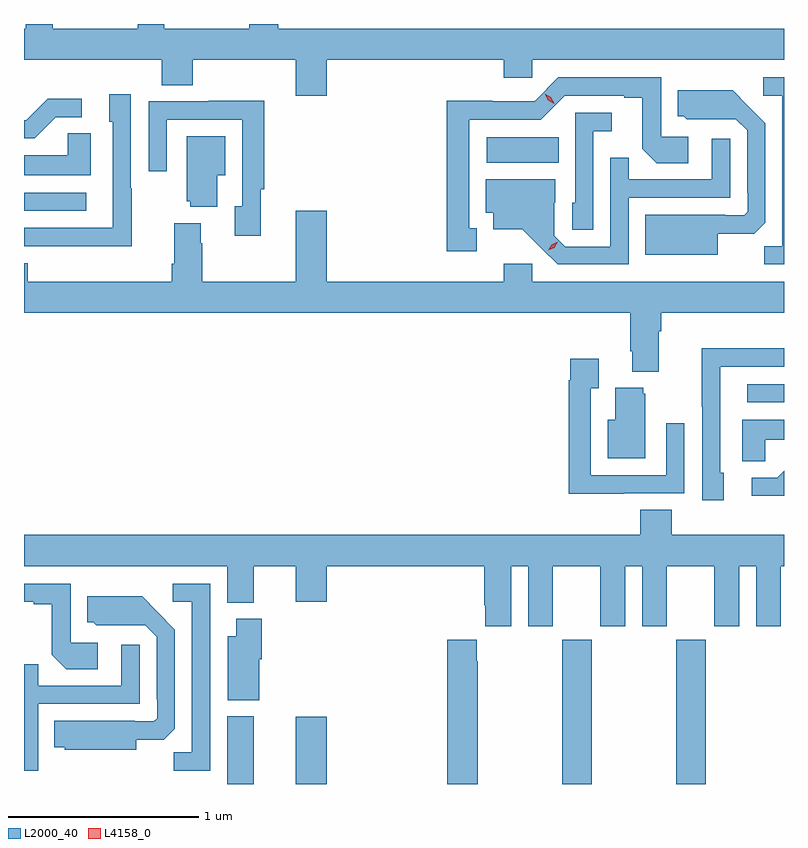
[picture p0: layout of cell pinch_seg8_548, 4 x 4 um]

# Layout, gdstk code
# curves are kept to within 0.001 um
import gdstk
lib = gdstk.Library(unit=1e-6, precision=1e-09)
def R(c, l, rs):  # rectangles x0, y0, x1, y1
    for r in rs: c.add(gdstk.rectangle(r[:2], r[2:], *l))
def P(c, l, *ps):  # polygons
    for p in ps: c.add(gdstk.Polygon(p, *l))
L2000_40 = (2000, 40)
L4158_0 = (4158, 0)

pinch_seg8_548 = lib.new_cell('pinch_seg8_548')
R(pinch_seg8_548, L2000_40, [(140.672,1100.701,140.812,1101.058), (141.032,1100.701,141.196,1101.055), (142.435,1100.701,142.59,1101.46), (143.035,1100.701,143.19,1101.46), (143.409,1102.71,143.603,1102.806), (139.603,1103.718,139.93,1103.814), (142.038,1103.972,142.418,1104.106)])
P(pinch_seg8_548, L2000_40, [(141.196,1104.512),(142.127,1104.512),(142.127,1104.419),(142.278,1104.419),(142.278,1104.512),(143.603,1104.512),(143.603,1104.676),(140.942,1104.676),(140.942,1104.701),(140.789,1104.701),(140.789,1104.676),(140.341,1104.676),(140.341,1104.701),(140.201,1104.701),(140.201,1104.676),(139.753,1104.676),(139.753,1104.701),(139.613,1104.701),(139.613,1104.676),(139.603,1104.676),(139.603,1104.512),(140.327,1104.512),(140.327,1104.379),(140.492,1104.379),(140.492,1104.512),(141.032,1104.512),(141.032,1104.324),(141.196,1104.324)],
  [(141.985,1103.625),(141.946,1103.625),(141.946,1104.198),(142.323,1104.198),(142.449,1104.324),(142.763,1104.324),(142.763,1104.312),(142.857,1104.312),(142.857,1104.044),(142.933,1103.968),(143.098,1103.968),(143.098,1104.108),(142.956,1104.108),(142.956,1104.42),(142.416,1104.42),(142.29,1104.294),(142.068,1104.294),(142.068,1104.296),(141.828,1104.296),(141.828,1103.505),(141.985,1103.505)],
  [(143.603,1104.42),(143.493,1104.42),(143.493,1104.324),(143.595,1104.324),(143.595,1103.531),(143.5,1103.531),(143.5,1103.436),(143.603,1103.436)],
  [(143.254,1103.597),(143.446,1103.597),(143.505,1103.656),(143.505,1104.178),(143.333,1104.352),(143.045,1104.352),(143.045,1104.216),(143.076,1104.216),(143.092,1104.2),(143.349,1104.201),(143.409,1104.141),(143.409,1103.812),(143.412,1103.812),(143.412,1103.712),(143.394,1103.694),(143.294,1103.694),(143.294,1103.698),(142.874,1103.698),(142.874,1103.486),(143.254,1103.486)],
  [(140.169,1103.837),(140.166,1103.837),(140.166,1104.331),(140.051,1104.331),(140.051,1104.186),(140.07,1104.186),(140.07,1103.628),(139.603,1103.628),(139.603,1103.532),(139.705,1103.532),(139.705,1103.531),(140.169,1103.531)],
  [(139.771,1104.21),(139.906,1104.21),(139.906,1104.308),(139.727,1104.308),(139.614,1104.195),(139.603,1104.195),(139.603,1104.099),(139.66,1104.099)],
  [(140.849,1103.83),(140.867,1103.83),(140.867,1104.296),(140.575,1104.296),(140.575,1104.294),(140.259,1104.294),(140.259,1103.925),(140.355,1103.925),(140.355,1104.198),(140.751,1104.198),(140.751,1103.742),(140.711,1103.742),(140.711,1103.586),(140.849,1103.586)],
  [(142.599,1104.137),(142.696,1104.137),(142.696,1104.234),(142.503,1104.234),(142.503,1103.76),(142.488,1103.76),(142.488,1103.617),(142.599,1103.617)],
  [(139.954,1104.125),(139.833,1104.125),(139.833,1104.01),(139.603,1104.01),(139.603,1103.906),(139.954,1103.906)],
  [(140.62,1103.906),(140.662,1103.906),(140.662,1104.109),(140.459,1104.109),(140.459,1103.769),(140.477,1103.769),(140.477,1103.738),(140.62,1103.738)],
  [(142.785,1103.787),(143.319,1103.787),(143.319,1104.097),(143.223,1104.097),(143.223,1103.883),(142.787,1103.883),(142.787,1103.996),(142.689,1103.996),(142.689,1103.529),(142.452,1103.529),(142.395,1103.586),(142.395,1103.76),(142.399,1103.76),(142.399,1103.884),(142.034,1103.884),(142.034,1103.708),(142.073,1103.708),(142.073,1103.621),(142.225,1103.621),(142.412,1103.436),(142.785,1103.436)],
  [(142.945,1103.084),(142.958,1103.084),(142.958,1103.18),(143.603,1103.18),(143.603,1103.344),(142.278,1103.344),(142.278,1103.44),(142.127,1103.44),(142.127,1103.344),(141.196,1103.344),(141.196,1103.719),(141.032,1103.719),(141.032,1103.344),(140.541,1103.344),(140.541,1103.546),(140.533,1103.546),(140.533,1103.653),(140.393,1103.653),(140.393,1103.44),(140.381,1103.44),(140.381,1103.344),(139.622,1103.344),(139.622,1103.443),(139.603,1103.443),(139.603,1103.18),(142.793,1103.18),(142.793,1102.978),(142.805,1102.978),(142.805,1102.871),(142.945,1102.871)],
  [(143.287,1102.338),(143.268,1102.338),(143.268,1102.896),(143.603,1102.896),(143.603,1102.994),(143.17,1102.994),(143.17,1102.687),(143.172,1102.687),(143.172,1102.194),(143.287,1102.194)],
  [(142.763,1102.23),(143.079,1102.23),(143.079,1102.6),(142.983,1102.6),(142.983,1102.326),(142.587,1102.326),(142.587,1102.783),(142.627,1102.783),(142.627,1102.939),(142.479,1102.939),(142.479,1102.826),(142.471,1102.826),(142.471,1102.229),(142.763,1102.229)],
  [(142.873,1102.755),(142.862,1102.755),(142.862,1102.786),(142.715,1102.786),(142.715,1102.618),(142.676,1102.618),(142.676,1102.415),(142.873,1102.415)],
  [(143.505,1102.514),(143.603,1102.514),(143.603,1102.618),(143.384,1102.618),(143.384,1102.399),(143.505,1102.399)],
  [(143.603,1102.35),(143.567,1102.314),(143.433,1102.314),(143.433,1102.217),(143.603,1102.217)],
  [(142.168,1101.848),(142.256,1101.848),(142.256,1101.531),(142.387,1101.531),(142.387,1101.848),(142.637,1101.848),(142.637,1101.531),(142.768,1101.531),(142.768,1101.848),(142.856,1101.848),(142.856,1101.531),(142.987,1101.531),(142.987,1101.848),(143.237,1101.848),(143.237,1101.531),(143.368,1101.531),(143.368,1101.848),(143.456,1101.848),(143.456,1101.531),(143.587,1101.531),(143.587,1101.848),(143.603,1101.848),(143.603,1102.012),(143.012,1102.012),(143.012,1102.145),(142.847,1102.145),(142.847,1102.012),(139.603,1102.012),(139.603,1101.848),(140.672,1101.848),(140.672,1101.656),(140.812,1101.656),(140.812,1101.848),(141.032,1101.848),(141.032,1101.66),(141.196,1101.66),(141.196,1101.848),(142.025,1101.848),(142.025,1101.643),(142.031,1101.643),(142.031,1101.531),(142.168,1101.531)],
  [(139.99,1101.444),(139.848,1101.444),(139.848,1101.756),(139.603,1101.756),(139.603,1101.66),(139.655,1101.66),(139.655,1101.648),(139.749,1101.648),(139.749,1101.38),(139.825,1101.304),(139.99,1101.304)],
  [(140.583,1101.756),(140.385,1101.756),(140.385,1101.66),(140.487,1101.66),(140.487,1100.867),(140.392,1100.867),(140.392,1100.772),(140.583,1100.772)],
  [(140.194,1100.933),(140.338,1100.933),(140.397,1100.992),(140.397,1101.514),(140.225,1101.688),(139.937,1101.688),(139.937,1101.552),(139.968,1101.552),(139.984,1101.536),(140.241,1101.537),(140.301,1101.477),(140.301,1101.148),(140.304,1101.148),(140.304,1101.048),(140.286,1101.03),(140.186,1101.03),(140.186,1101.034),(139.762,1101.034),(139.762,1100.894),(139.818,1100.894),(139.818,1100.882),(140.194,1100.882)],
  [(140.842,1101.357),(140.855,1101.357),(140.855,1101.571),(140.72,1101.571),(140.72,1101.478),(140.675,1101.478),(140.675,1101.143),(140.842,1101.143)],
  [(141.99,1101.347),(141.985,1101.347),(141.985,1101.46),(141.83,1101.46),(141.83,1100.701),(141.99,1100.701)],
  [(139.677,1101.123),(140.211,1101.123),(140.211,1101.433),(140.115,1101.433),(140.115,1101.219),(139.679,1101.219),(139.679,1101.332),(139.603,1101.332),(139.603,1100.772),(139.677,1100.772)])
P(pinch_seg8_548, L4158_0, [(142.362,1103.509),(142.362,1103.509),(142.38,1103.539),(142.411,1103.554),(142.411,1103.554),(142.411,1103.554),(142.394,1103.524),(142.363,1103.509)],
  [(142.394,1104.282),(142.362,1104.301),(142.344,1104.334),(142.344,1104.334),(142.345,1104.334),(142.376,1104.315),(142.394,1104.283),(142.394,1104.282)])

lib.write_gds('pinch_seg8_548.gds')
